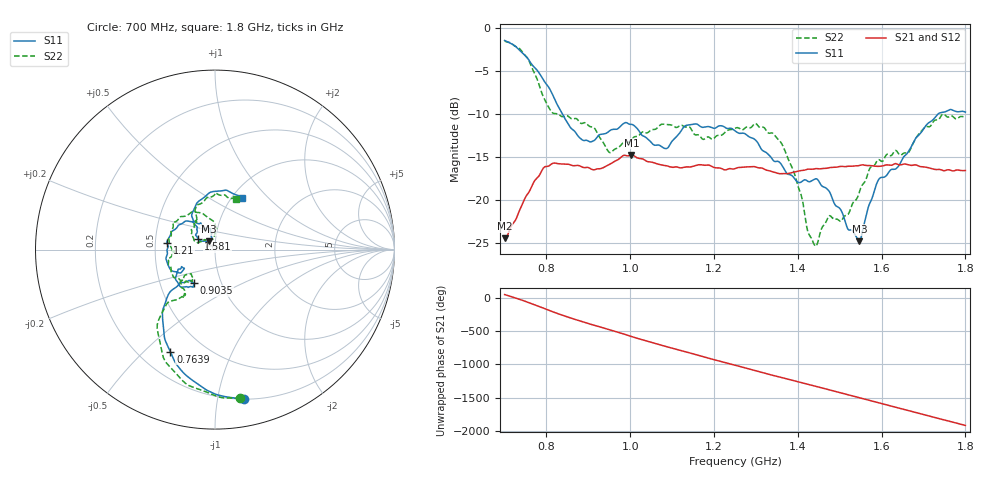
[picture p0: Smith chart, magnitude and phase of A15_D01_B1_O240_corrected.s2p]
! Created with skrf 1.9.0 (http://scikit-rf.org).
# Hz S RI R 50.0
!freq ReS11 ImS11 ReS21 ImS21 ReS12 ImS12 ReS22 ImS22
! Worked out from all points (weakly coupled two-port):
!   1601 points, 700 MHz to 1.8 GHz, reference 50 ohm
!   highest |S21| = -14.73 dB at 1.002 GHz (marker M1); lowest = -24.4 dB at 700.7 MHz (marker M2)
!   lowest |S11| = -24.7 dB at 1.547 GHz (marker M3), VSWR 1.12, Z = 46.4 + j4.26 ohm
!   |S11| at or under -10 dB: 838.6 MHz to 1.734 GHz (895.4 MHz wide, 69.6 % of centre)
!   |S22| runs from -25.3 to -1.5 dB; largest |S21 - S12| = 0.0037
!   S11 on the Smith chart (normalised r, x): 700 MHz: 0.20, -1.19; 763.9 MHz: 0.33, -0.60; 903.5 MHz: 0.74, -0.29; 1.21 GHz: 0.58, +0.04; 1.581 GHz: 0.83, +0.10; 1.8 GHz: 1.11, +0.72
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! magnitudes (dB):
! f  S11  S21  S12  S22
! 700 MHz  -1.4  -24.4  -24.2  -1.5
! 700.7 MHz  -1.4  -24.4  -24.1  -1.5
! 763.9 MHz  -4.1  -18.5  -18.5  -4.4
! 812.1 MHz  -7.5  -15.8  -15.7  -9.7
! 883.6 MHz  -12.9  -16.1  -16.0  -11.1
! 903.5 MHz  -13.2  -16.3  -16.2  -11.4
! 950.9 MHz  -11.9  -15.8  -15.8  -14.4
! 1.002 GHz  -11.2  -14.7  -14.8  -13.0
! 1.067 GHz  -13.6  -15.8  -15.7  -11.4
! 1.135 GHz  -11.3  -16.1  -16.1  -11.5
! 1.21 GHz  -11.4  -16.2  -16.3  -12.5
! 1.25 GHz  -11.9  -16.3  -16.2  -11.6
! 1.3 GHz  -13.0  -16.1  -16.1  -11.1
! 1.359 GHz  -15.7  -16.9  -16.9  -13.2
! 1.392 GHz  -17.5  -16.7  -16.7  -16.9
! 1.434 GHz  -17.7  -16.4  -16.4  -24.6
! 1.547 GHz  -24.7  -15.9  -15.9  -19.0
! 1.581 GHz  -19.2  -16.0  -16.0  -16.0
! 1.617 GHz  -16.7  -15.9  -15.9  -14.7
! 1.663 GHz  -14.4  -15.9  -15.9  -14.5
! 1.735 GHz  -10.0  -16.4  -16.5  -10.7
! 1.8 GHz  -9.7  -16.5  -16.5  -10.3
